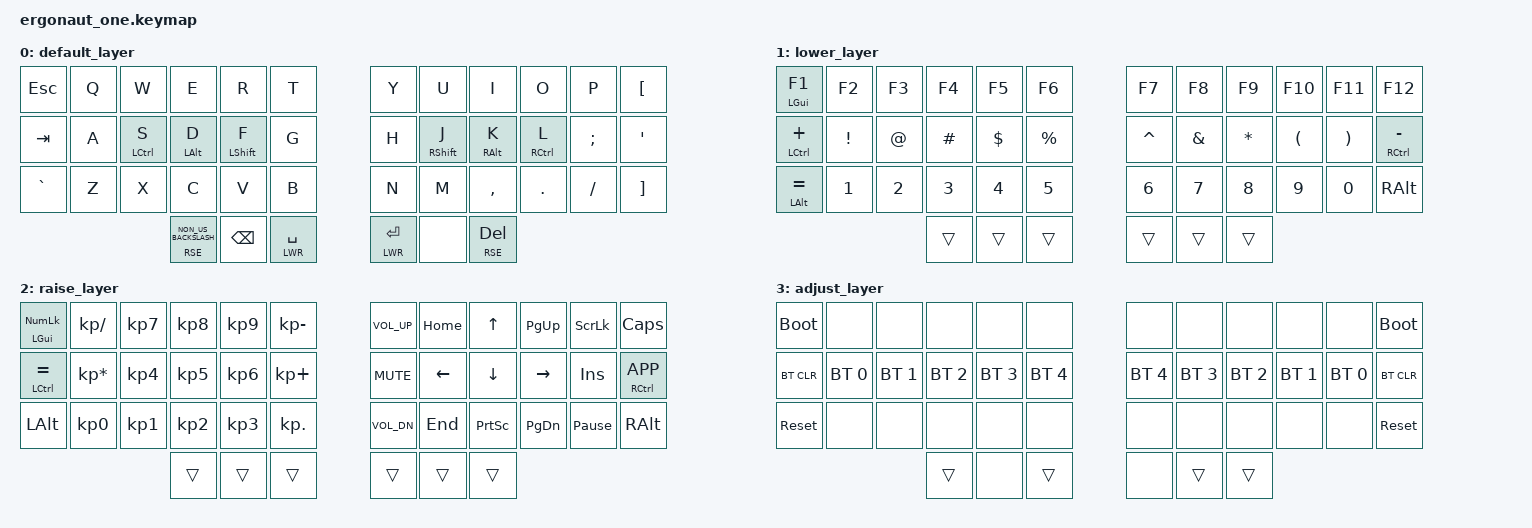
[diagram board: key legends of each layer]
#include <behaviors.dtsi>
#include <dt-bindings/zmk/bt.h>
#include <dt-bindings/zmk/keys.h>

#define DEF 0
#define LWR 1
#define RSE 2
#define ADJ 3

&lt { quick-tap-ms = <200>; };

&mt {
    quick-tap-ms = <200>;
    flavor = "tap-preferred";
};

/ {
    conditional_layers {
        compatible = "zmk,conditional-layers";

        tri-layer {
            if-layers = <1 2>;
            then-layer = <3>;
        };
    };

    keymap {
        compatible = "zmk,keymap";

        default_layer {
            bindings = <
&kp ESCAPE  &kp Q  &kp W        &kp E                     &kp R          &kp T          &kp Y          &kp U              &kp I            &kp O        &kp P     &kp LBKT
&kp TAB     &kp A  &mt LCTRL S  &mt LALT D                &mt LSHIFT F   &kp G          &kp H          &mt RIGHT_SHIFT J  &mt RIGHT_ALT K  &mt RCTRL L  &kp SEMI  &kp APOSTROPHE
&kp GRAVE   &kp Z  &kp X        &kp C                     &kp V          &kp B          &kp N          &kp M              &kp COMMA        &kp DOT      &kp FSLH  &kp RIGHT_BRACKET
                                &lt RSE NON_US_BACKSLASH  &kp BACKSPACE  &lt LWR SPACE  &lt LWR ENTER  &none              &lt RSE DEL
            >;
        };

        lower_layer {
            bindings = <
&mt LGUI F1     &kp F2    &kp F3  &kp F4    &kp F5    &kp F6     &kp F7     &kp F8    &kp F9    &kp F10   &kp F11   &kp F12
&mt LCTRL PLUS  &kp EXCL  &kp AT  &kp HASH  &kp DLLR  &kp PRCNT  &kp CARET  &kp AMPS  &kp STAR  &kp LPAR  &kp RPAR  &mt RCTRL MINUS
&mt LALT EQUAL  &kp N1    &kp N2  &kp N3    &kp N4    &kp N5     &kp N6     &kp N7    &kp N8    &kp N9    &kp N0    &kp RALT
                                  &trans    &trans    &trans     &trans     &trans    &trans
            >;
        };

        raise_layer {
            bindings = <
&mt LGUI KP_NUM  &kp KP_SLASH     &kp KP_N7  &kp KP_N8  &kp KP_N9  &kp KP_MINUS  &kp C_VOL_UP  &kp HOME  &kp UP_ARROW     &kp PG_UP  &kp SLCK         &kp CLCK
&mt LCTRL EQUAL  &kp KP_MULTIPLY  &kp KP_N4  &kp KP_N5  &kp KP_N6  &kp KP_PLUS   &kp C_MUTE    &kp LEFT  &kp DOWN_ARROW   &kp RIGHT  &kp INS          &mt RCTRL K_APP
&kp LALT         &kp KP_N0        &kp KP_N1  &kp KP_N2  &kp KP_N3  &kp KP_DOT    &kp C_VOL_DN  &kp END   &kp PRINTSCREEN  &kp PG_DN  &kp PAUSE_BREAK  &kp RALT
                                             &trans     &trans     &trans        &trans        &trans    &trans
            >;
        };

        adjust_layer {
            bindings = <
&bootloader  &none         &none         &none         &none         &none         &none         &none         &none         &none         &none         &bootloader
&bt BT_CLR   &bt BT_SEL 0  &bt BT_SEL 1  &bt BT_SEL 2  &bt BT_SEL 3  &bt BT_SEL 4  &bt BT_SEL 4  &bt BT_SEL 3  &bt BT_SEL 2  &bt BT_SEL 1  &bt BT_SEL 0  &bt BT_CLR
&sys_reset   &none         &none         &none         &none         &none         &none         &none         &none         &none         &none         &sys_reset
                                         &trans        &none         &trans        &none         &trans        &trans
            >;
        };
    };
};
